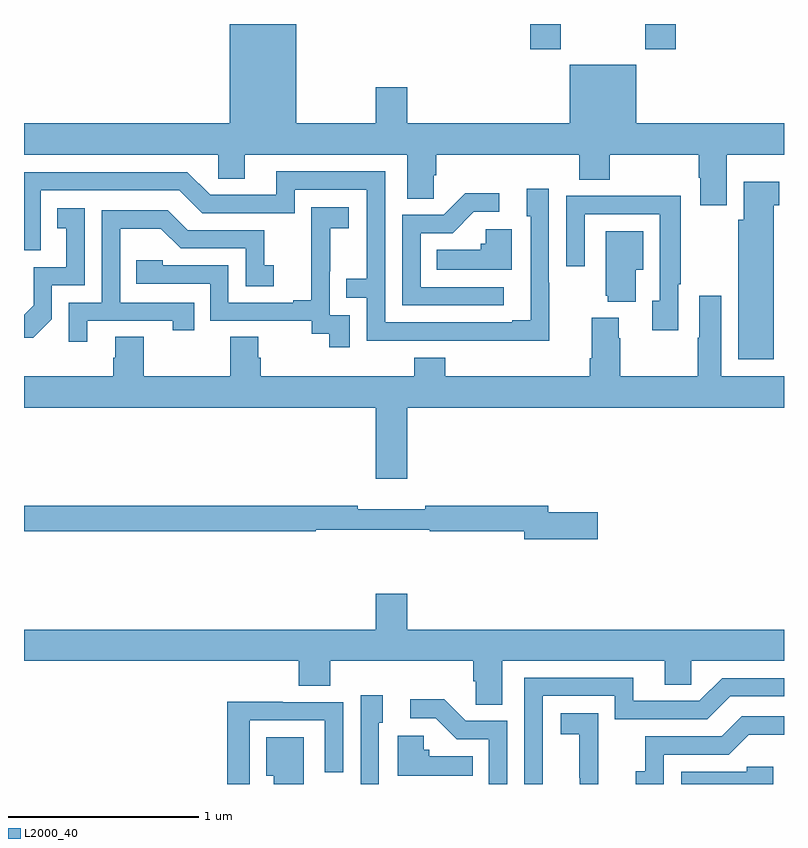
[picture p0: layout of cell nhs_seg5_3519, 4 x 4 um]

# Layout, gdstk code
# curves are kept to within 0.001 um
import gdstk
lib = gdstk.Library(unit=1e-6, precision=1e-09)
def R(c, l, rs):  # rectangles x0, y0, x1, y1
    for r in rs: c.add(gdstk.rectangle(r[:2], r[2:], *l))
def P(c, l, *ps):  # polygons
    for p in ps: c.add(gdstk.Polygon(p, *l))
L2000_40 = (2000, 40)

nhs_seg5_3519 = lib.new_cell('nhs_seg5_3519')
R(nhs_seg5_3519, L2000_40, [(321.665,838.665,321.825,838.799), (322.27,838.665,322.43,838.799)])
P(nhs_seg5_3519, L2000_40, [(322.699,838.112),(323,838.112),(323,838.276),(322.222,838.276),(322.222,838.585),(321.872,838.585),(321.872,838.276),(321.016,838.276),(321.016,838.465),(320.852,838.465),(320.852,838.276),(320.434,838.276),(320.434,838.799),(320.084,838.799),(320.084,838.276),(319,838.276),(319,838.112),(320.022,838.112),(320.022,837.985),(320.161,837.985),(320.161,838.112),(321.017,838.112),(321.017,837.88),(321.156,837.88),(321.156,838.003),(321.17,838.003),(321.17,838.112),(321.923,838.112),(321.923,837.979),(322.083,837.979),(322.083,838.112),(322.552,838.112),(322.552,837.991),(322.559,837.991),(322.559,837.846),(322.699,837.846)],
  [(321.765,837.437),(321.762,837.437),(321.762,837.931),(321.647,837.931),(321.647,837.786),(321.666,837.786),(321.666,837.241),(321.569,837.241),(321.569,837.228),(320.901,837.228),(320.901,838.023),(320.327,838.023),(320.327,837.9),(319.98,837.9),(319.86,838.02),(319,838.02),(319,837.609),(319.089,837.609),(319.089,837.924),(319.818,837.924),(319.938,837.804),(320.424,837.804),(320.424,837.927),(320.805,837.927),(320.805,837.458),(320.695,837.458),(320.695,837.357),(320.805,837.357),(320.805,837.132),(321.765,837.131)],
  [(322.945,837.845),(322.975,837.845),(322.975,837.97),(322.787,837.97),(322.787,837.768),(322.76,837.768),(322.76,837.035),(322.945,837.035)],
  [(321.526,837.414),(321.087,837.414),(321.087,837.699),(321.256,837.699),(321.367,837.81),(321.502,837.81),(321.502,837.908),(321.323,837.908),(321.21,837.795),(320.991,837.795),(320.991,837.318),(321.526,837.318)],
  [(322.443,837.43),(322.456,837.43),(322.456,837.896),(322.171,837.896),(322.171,837.894),(321.855,837.894),(321.855,837.525),(321.951,837.525),(321.951,837.798),(322.347,837.798),(322.347,837.342),(322.307,837.342),(322.307,837.186),(322.443,837.186)],
  [(320.715,837.267),(320.61,837.267),(320.61,837.497),(320.612,837.497),(320.612,837.725),(320.71,837.725),(320.71,837.835),(320.512,837.835),(320.512,837.629),(320.513,837.629),(320.513,837.346),(320.417,837.346),(320.417,837.333),(320.076,837.333),(320.076,837.528),(319.731,837.528),(319.731,837.555),(319.591,837.555),(319.591,837.432),(319.98,837.432),(319.98,837.237),(320.514,837.237),(320.514,837.169),(320.607,837.169),(320.607,837.099),(320.715,837.099)],
  [(319.146,837.246),(319.146,837.423),(319.32,837.423),(319.32,837.829),(319.174,837.829),(319.174,837.723),(319.223,837.723),(319.223,837.519),(319.05,837.519),(319.05,837.318),(319,837.268),(319,837.149),(319.048,837.149)],
  [(319.333,837.237),(319.784,837.237),(319.784,837.186),(319.895,837.186),(319.895,837.333),(319.506,837.333),(319.506,837.722),(319.72,837.722),(319.824,837.618),(320.166,837.618),(320.166,837.42),(320.314,837.42),(320.314,837.529),(320.265,837.529),(320.265,837.714),(319.861,837.714),(319.756,837.819),(319.41,837.819),(319.41,837.333),(319.236,837.333),(319.236,837.126),(319.333,837.126)],
  [(321.568,837.718),(321.429,837.718),(321.429,837.642),(321.403,837.642),(321.403,837.61),(321.172,837.61),(321.172,837.506),(321.568,837.506)],
  [(322.219,837.506),(322.258,837.506),(322.258,837.709),(322.061,837.709),(322.061,837.369),(322.073,837.369),(322.073,837.338),(322.219,837.338)],
  [(321.016,836.78),(323,836.78),(323,836.944),(322.669,836.944),(322.669,837.37),(322.553,837.37),(322.553,837.149),(322.546,837.149),(322.546,836.944),(322.137,836.944),(322.137,837.146),(322.129,837.146),(322.129,837.253),(321.989,837.253),(321.989,837.04),(321.977,837.04),(321.977,836.944),(321.218,836.944),(321.218,837.043),(321.053,837.043),(321.053,836.944),(320.246,836.944),(320.246,837.042),(320.233,837.042),(320.233,837.152),(320.086,837.152),(320.086,836.944),(319.629,836.944),(319.629,837.152),(319.481,837.152),(319.481,837.042),(319.469,837.042),(319.469,836.944),(319,836.944),(319,836.78),(320.852,836.78),(320.852,836.406),(321.016,836.406)],
  [(322.021,836.228),(321.76,836.228),(321.76,836.264),(321.112,836.264),(321.112,836.245),(320.756,836.245),(320.756,836.264),(319,836.264),(319,836.128),(320.536,836.128),(320.536,836.136),(321.136,836.136),(321.136,836.128),(321.632,836.128),(321.632,836.086),(322.021,836.086)],
  [(321.365,835.339),(321.378,835.339),(321.378,835.216),(321.517,835.216),(321.517,835.448),(322.373,835.448),(322.373,835.321),(322.512,835.321),(322.512,835.448),(323,835.448),(323,835.612),(321.016,835.612),(321.016,835.801),(320.852,835.801),(320.852,835.612),(319,835.612),(319,835.448),(320.447,835.448),(320.447,835.315),(320.612,835.315),(320.612,835.448),(321.365,835.448)],
  [(321.729,835.263),(322.11,835.263),(322.11,835.14),(322.596,835.14),(322.716,835.26),(323,835.26),(323,835.356),(322.674,835.356),(322.554,835.236),(322.207,835.236),(322.207,835.359),(321.633,835.359),(321.633,834.799),(321.729,834.799)],
  [(320.868,835.122),(320.887,835.122),(320.887,835.267),(320.772,835.267),(320.772,834.799),(320.868,834.799)],
  [(321.543,835.131),(321.324,835.131),(321.211,835.244),(321.033,835.244),(321.033,835.146),(321.167,835.146),(321.278,835.035),(321.447,835.035),(321.447,834.799),(321.543,834.799)],
  [(320.187,835.134),(320.583,835.134),(320.583,834.861),(320.679,834.861),(320.679,835.23),(320.363,835.23),(320.363,835.232),(320.071,835.232),(320.071,834.799),(320.187,834.799)],
  [(322.022,834.965),(322.023,834.965),(322.023,835.171),(321.825,835.171),(321.825,835.061),(321.923,835.061),(321.923,834.833),(321.924,834.833),(321.924,834.799),(322.022,834.799)],
  [(322.368,834.954),(322.71,834.954),(322.814,835.058),(323,835.058),(323,835.155),(322.778,835.155),(322.673,835.05),(322.27,835.05),(322.27,834.865),(322.221,834.865),(322.221,834.799),(322.368,834.799)],
  [(321.362,834.946),(321.132,834.946),(321.132,834.978),(321.105,834.978),(321.105,835.054),(320.966,835.054),(320.966,834.842),(321.362,834.842)],
  [(320.473,835.045),(320.276,835.045),(320.276,834.842),(320.315,834.842),(320.315,834.799),(320.473,834.799)],
  [(322.943,834.891),(322.803,834.891),(322.803,834.864),(322.458,834.864),(322.458,834.799),(322.943,834.799)])

lib.write_gds('nhs_seg5_3519.gds')
